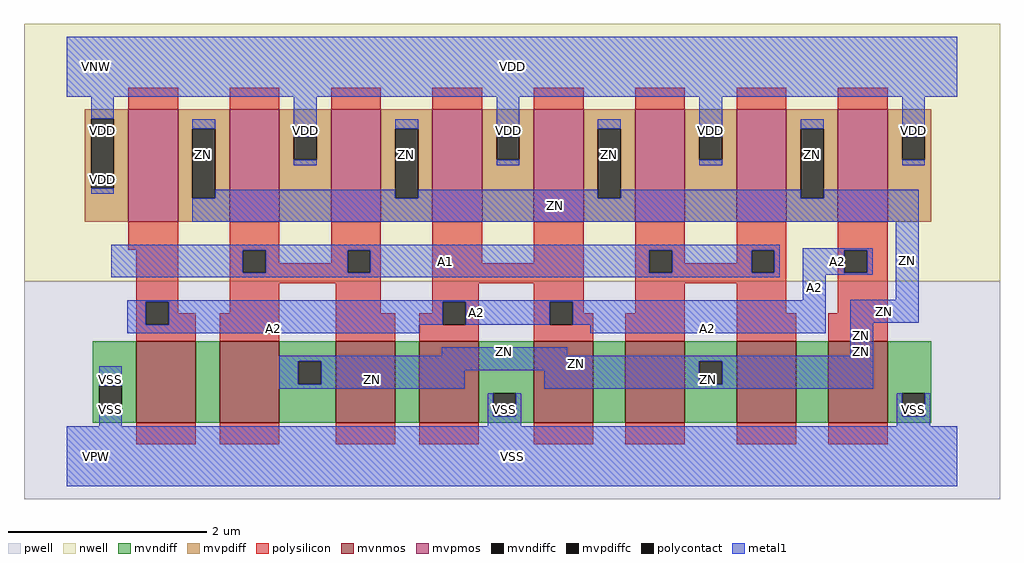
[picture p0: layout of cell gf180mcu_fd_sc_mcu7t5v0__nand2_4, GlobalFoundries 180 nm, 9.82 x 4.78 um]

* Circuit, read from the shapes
.subckt gf180mcu_fd_sc_mcu7t5v0__nand2_4 A1 A2 ZN VDD VNW VPW VSS
XM1 n1 A2 VSS VPW nfet_06v0 w=0.82u l=0.6u
XM2 ZN A1 n1 VPW nfet_06v0 w=0.82u l=0.6u
XM3 n2 A1 ZN VPW nfet_06v0 w=0.82u l=0.6u
XM4 VSS A2 n2 VPW nfet_06v0 w=0.82u l=0.6u
XM5 n3 A2 VSS VPW nfet_06v0 w=0.82u l=0.6u
XM6 ZN A1 n3 VPW nfet_06v0 w=0.82u l=0.6u
XM7 n4 A1 ZN VPW nfet_06v0 w=0.82u l=0.6u
XM8 VSS A2 n4 VPW nfet_06v0 w=0.82u l=0.6u
XM9 ZN A2 VDD VNW pfet_06v0 w=1.13u l=0.5u m=4
XM10 VDD A1 ZN VNW pfet_06v0 w=1.13u l=0.5u m=4
.ends

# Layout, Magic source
magic
tech gf180mcuD
magscale 1 10
<< nwell >>
rect -86 352 1878 870
<< pwell >>
rect -86 -86 1878 352
<< mvnmos >>
rect 140 68 260 232
rect 308 68 428 232
rect 541 68 661 232
rect 709 68 829 232
rect 940 68 1060 232
rect 1124 68 1244 232
rect 1348 68 1468 232
rect 1532 68 1652 232
<< mvpmos >>
rect 124 472 224 698
rect 328 472 428 698
rect 532 472 632 698
rect 736 472 836 698
rect 940 472 1040 698
rect 1144 472 1244 698
rect 1348 472 1448 698
rect 1552 472 1652 698
<< mvndiff >>
rect 52 142 140 232
rect 52 96 65 142
rect 111 96 140 142
rect 52 68 140 96
rect 260 68 308 232
rect 428 191 541 232
rect 428 145 466 191
rect 512 145 541 191
rect 428 68 541 145
rect 661 68 709 232
rect 829 127 940 232
rect 829 81 858 127
rect 904 81 940 127
rect 829 68 940 81
rect 1060 68 1124 232
rect 1244 191 1348 232
rect 1244 145 1273 191
rect 1319 145 1348 191
rect 1244 68 1348 145
rect 1468 68 1532 232
rect 1652 127 1740 232
rect 1652 81 1681 127
rect 1727 81 1740 127
rect 1652 68 1740 81
<< mvpdiff >>
rect 36 679 124 698
rect 36 539 49 679
rect 95 539 124 679
rect 36 472 124 539
rect 224 659 328 698
rect 224 519 253 659
rect 299 519 328 659
rect 224 472 328 519
rect 428 643 532 698
rect 428 597 457 643
rect 503 597 532 643
rect 428 472 532 597
rect 632 659 736 698
rect 632 519 661 659
rect 707 519 736 659
rect 632 472 736 519
rect 836 643 940 698
rect 836 597 865 643
rect 911 597 940 643
rect 836 472 940 597
rect 1040 659 1144 698
rect 1040 519 1069 659
rect 1115 519 1144 659
rect 1040 472 1144 519
rect 1244 643 1348 698
rect 1244 597 1273 643
rect 1319 597 1348 643
rect 1244 472 1348 597
rect 1448 659 1552 698
rect 1448 519 1477 659
rect 1523 519 1552 659
rect 1448 472 1552 519
rect 1652 643 1740 698
rect 1652 597 1681 643
rect 1727 597 1740 643
rect 1652 472 1740 597
<< mvndiffc >>
rect 65 96 111 142
rect 466 145 512 191
rect 858 81 904 127
rect 1273 145 1319 191
rect 1681 81 1727 127
<< mvpdiffc >>
rect 49 539 95 679
rect 253 519 299 659
rect 457 597 503 643
rect 661 519 707 659
rect 865 597 911 643
rect 1069 519 1115 659
rect 1273 597 1319 643
rect 1477 519 1523 659
rect 1681 597 1727 643
<< polysilicon >>
rect 124 698 224 742
rect 328 698 428 742
rect 532 698 632 742
rect 736 698 836 742
rect 940 698 1040 742
rect 1144 698 1244 742
rect 1348 698 1448 742
rect 1552 698 1652 742
rect 124 416 224 472
rect 140 311 224 416
rect 140 265 159 311
rect 205 288 224 311
rect 328 415 428 472
rect 328 369 354 415
rect 400 388 428 415
rect 532 415 632 472
rect 532 388 565 415
rect 400 369 565 388
rect 611 369 632 415
rect 328 348 632 369
rect 328 288 428 348
rect 205 265 260 288
rect 140 232 260 265
rect 308 232 428 288
rect 541 288 632 348
rect 736 388 836 472
rect 940 388 1040 472
rect 736 348 1040 388
rect 736 311 829 348
rect 736 288 757 311
rect 541 232 661 288
rect 709 265 757 288
rect 803 265 829 311
rect 709 232 829 265
rect 940 311 1040 348
rect 940 265 972 311
rect 1018 288 1040 311
rect 1144 415 1244 472
rect 1144 369 1172 415
rect 1218 388 1244 415
rect 1348 415 1448 472
rect 1348 388 1378 415
rect 1218 369 1378 388
rect 1424 369 1448 415
rect 1144 348 1448 369
rect 1144 288 1244 348
rect 1018 265 1060 288
rect 940 232 1060 265
rect 1124 232 1244 288
rect 1348 288 1448 348
rect 1552 415 1652 472
rect 1552 369 1565 415
rect 1611 369 1652 415
rect 1552 288 1652 369
rect 1348 232 1468 288
rect 1532 232 1652 288
rect 140 24 260 68
rect 308 24 428 68
rect 541 24 661 68
rect 709 24 829 68
rect 940 24 1060 68
rect 1124 24 1244 68
rect 1348 24 1468 68
rect 1532 24 1652 68
<< polycontact >>
rect 159 265 205 311
rect 354 369 400 415
rect 565 369 611 415
rect 757 265 803 311
rect 972 265 1018 311
rect 1172 369 1218 415
rect 1378 369 1424 415
rect 1565 369 1611 415
<< metal1 >>
rect 0 724 1792 844
rect 49 679 95 724
rect 49 528 95 539
rect 253 659 299 678
rect 457 643 503 724
rect 457 586 503 597
rect 661 659 707 678
rect 299 519 661 536
rect 865 643 911 724
rect 865 586 911 597
rect 1069 659 1115 678
rect 707 519 1069 536
rect 1273 643 1319 724
rect 1273 586 1319 597
rect 1477 659 1523 678
rect 1115 519 1477 536
rect 1681 643 1727 724
rect 1681 586 1727 597
rect 1523 519 1714 536
rect 253 472 1714 519
rect 90 415 1435 426
rect 90 369 354 415
rect 400 369 565 415
rect 611 369 1172 415
rect 1218 369 1378 415
rect 1424 369 1435 415
rect 90 360 1435 369
rect 1481 415 1622 419
rect 1481 369 1565 415
rect 1611 369 1622 415
rect 1481 365 1622 369
rect 1481 314 1527 365
rect 1668 315 1714 472
rect 122 311 1527 314
rect 122 265 159 311
rect 205 265 757 311
rect 803 265 972 311
rect 1018 265 1527 311
rect 122 248 709 265
rect 1053 248 1527 265
rect 1577 269 1714 315
rect 755 202 1007 219
rect 1577 202 1623 269
rect 428 191 1623 202
rect 65 142 111 181
rect 428 145 466 191
rect 512 173 1273 191
rect 512 145 801 173
rect 428 136 801 145
rect 961 145 1273 173
rect 1319 145 1623 191
rect 961 136 1623 145
rect 65 60 111 96
rect 847 81 858 127
rect 904 81 915 127
rect 847 60 915 81
rect 1670 81 1681 127
rect 1727 81 1738 127
rect 1670 60 1738 81
rect 0 -60 1792 60
<< labels >>
flabel metal1 s 0 724 1792 844 0 FreeSans 400 0 0 0 VDD
port 4 nsew power bidirectional abutment
flabel metal1 s 65 127 111 181 0 FreeSans 400 0 0 0 VSS
port 7 nsew ground bidirectional abutment
flabel metal1 s 1477 536 1523 678 0 FreeSans 400 0 0 0 ZN
port 3 nsew default output
flabel metal1 s 90 360 1435 426 0 FreeSans 400 0 0 0 A1
port 1 nsew default input
flabel metal1 s 1481 365 1622 419 0 FreeSans 400 0 0 0 A2
port 2 nsew default input
flabel nwell s 10 734 110 834 0 FreeSans 400 0 0 0 VNW
port 5 nsew power bidirectional
flabel pwell s 10 -50 110 50 0 FreeSans 400 0 0 0 VPW
port 6 nsew ground bidirectional
rlabel metal1 s 1481 314 1527 365 1 A2
port 2 nsew default input
rlabel metal1 s 122 265 1527 314 1 A2
port 2 nsew default input
rlabel metal1 s 1053 248 1527 265 1 A2
port 2 nsew default input
rlabel metal1 s 122 248 709 265 1 A2
port 2 nsew default input
rlabel metal1 s 1069 536 1115 678 1 ZN
port 3 nsew default output
rlabel metal1 s 661 536 707 678 1 ZN
port 3 nsew default output
rlabel metal1 s 253 536 299 678 1 ZN
port 3 nsew default output
rlabel metal1 s 253 472 1714 536 1 ZN
port 3 nsew default output
rlabel metal1 s 1668 315 1714 472 1 ZN
port 3 nsew default output
rlabel metal1 s 1577 269 1714 315 1 ZN
port 3 nsew default output
rlabel metal1 s 1577 219 1623 269 1 ZN
port 3 nsew default output
rlabel metal1 s 1577 202 1623 219 1 ZN
port 3 nsew default output
rlabel metal1 s 755 202 1007 219 1 ZN
port 3 nsew default output
rlabel metal1 s 428 173 1623 202 1 ZN
port 3 nsew default output
rlabel metal1 s 961 136 1623 173 1 ZN
port 3 nsew default output
rlabel metal1 s 428 136 801 173 1 ZN
port 3 nsew default output
rlabel metal1 s 1681 586 1727 724 1 VDD
port 4 nsew power bidirectional abutment
rlabel metal1 s 1273 586 1319 724 1 VDD
port 4 nsew power bidirectional abutment
rlabel metal1 s 865 586 911 724 1 VDD
port 4 nsew power bidirectional abutment
rlabel metal1 s 457 586 503 724 1 VDD
port 4 nsew power bidirectional abutment
rlabel metal1 s 49 586 95 724 1 VDD
port 4 nsew power bidirectional abutment
rlabel metal1 s 49 528 95 586 1 VDD
port 4 nsew power bidirectional abutment
rlabel metal1 s 1670 60 1738 127 1 VSS
port 7 nsew ground bidirectional abutment
rlabel metal1 s 847 60 915 127 1 VSS
port 7 nsew ground bidirectional abutment
rlabel metal1 s 65 60 111 127 1 VSS
port 7 nsew ground bidirectional abutment
rlabel metal1 s 0 -60 1792 60 1 VSS
port 7 nsew ground bidirectional abutment
<< properties >>
string FIXED_BBOX 0 0 1792 784
string GDS_END 709392
string GDS_FILE $PDKPATH/libs.ref/gf180mcu_fd_sc_mcu7t5v0/gds/gf180mcu_fd_sc_mcu7t5v0.gds
string GDS_START 704782
string LEFclass core
string LEFsite GF018hv5v_mcu_sc7
string LEFsymmetry X Y
<< end >>
